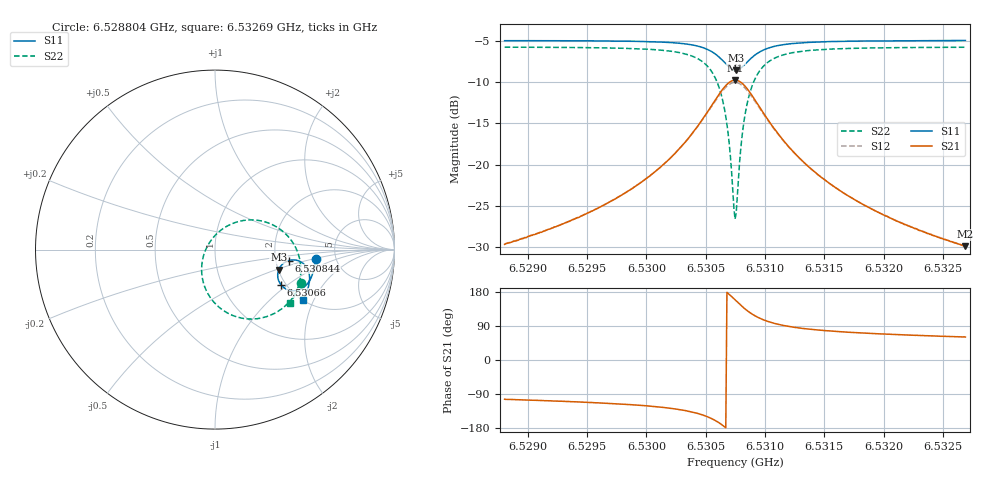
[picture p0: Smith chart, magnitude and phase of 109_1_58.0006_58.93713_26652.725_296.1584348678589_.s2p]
#  HZ  S  RI  R  50.00
! Rohde & Schwarz Vector Network Analyzer
! Rohde-Schwarz,ZNB20-2Port,1311601062101988,3.16
! Created: UTC 3/21/2024, 12:55:07 AM
! freq[Hz]  re:S11  im:S11  re:S21  im:S21  re:S12  im:S12  re:S22  im:S22
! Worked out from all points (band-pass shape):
!   401 points, 6.528804 GHz to 6.53269 GHz, reference 50 ohm
!   highest |S21| = -9.77 dB at 6.530747 GHz (marker M1); lowest = -29.9 dB at 6.53269 GHz (marker M2)
!   |S21| within 3 dB of the highest: 6.530554 GHz to 6.530943 GHz (388.8 kHz wide, 0.00595 % of centre)
!   lowest |S11| = -8.6 dB at 6.530757 GHz (marker M3), VSWR 2.19, Z = 101 - j26.1 ohm
!   |S11| at or under -10 dB: nowhere
!   |S22| runs from -26.6 to -5.8 dB; largest |S21 - S12| = 0.013
!   S11 on the Smith chart (normalised r, x): 6.528804 GHz: 3.48, -0.56; 6.53066 GHz: 1.88, -0.89; 6.530844 GHz: 2.35, -0.35; 6.53269 GHz: 2.00, -1.66
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6.528804e9  0.5607 -0.0547  -0.00767 -0.032  -0.00867 -0.0319  0.4805 -0.1841
6.529455e9  0.5512 -0.1102  -0.0177 -0.0456  -0.0187 -0.0454  0.4482 -0.2463
6.5298047e9  0.5409 -0.1438  -0.0298 -0.0592  -0.0313 -0.0585  0.4161 -0.289
6.5301059e9  0.5239 -0.1779  -0.053 -0.0785  -0.0553 -0.077  0.3631 -0.336
6.5303293e9  0.4966 -0.2085  -0.0946 -0.0996  -0.0978 -0.0962  0.2783 -0.3762
6.5304945e9  0.4511 -0.2286  -0.1668 -0.107  -0.1694 -0.0998  0.1454 -0.381
6.5305916e9  0.4038 -0.2232  -0.2406 -0.0797  -0.2396 -0.0691  0.0222 -0.3208
6.5306596e9  0.3665 -0.1946  -0.2951 -0.0182  -0.2888 -0.00724  -0.0575 -0.2066
6.5306888e9  0.3548 -0.1732  -0.3099 0.0225  -0.3008 0.032  -0.0736 -0.1364
6.5307276e9  0.3495 -0.1384  -0.3114 0.0853  -0.2997 0.0915  -0.0636 -0.0327
6.5307471e9  0.3524 -0.1205  -0.3028 0.1172  -0.2907 0.1211  -0.0433 0.0176
6.5307568e9  0.3551 -0.1117  -0.2964 0.1324  -0.284 0.1351  -0.0295 0.041
6.5307665e9  0.3591 -0.1035  -0.2882 0.1467  -0.2761 0.1484  -0.0135 0.0629
6.5308054e9  0.3812 -0.0762  -0.2448 0.193  -0.2345 0.1911  0.066 0.1301
6.5308442e9  0.4096 -0.0612  -0.1934 0.2178  -0.1859 0.2143  0.1553 0.1618
6.5309122e9  0.4552 -0.0595  -0.1138 0.2209  -0.1099 0.2173  0.289 0.1512
6.5310094e9  0.4957 -0.0813  -0.0449 0.1888  -0.043 0.1868  0.4004 0.0808
6.5311551e9  0.5198 -0.1178  -0.00298 0.1401  -0.00167 0.1392  0.4621 -0.0186
6.531398e9  0.5271 -0.1618  0.0151 0.0918  0.0162 0.0913  0.4783 -0.1201
6.53167e9  0.523 -0.1961  0.0186 0.0641  0.0193 0.0639  0.4699 -0.1837
6.5320489e9  0.5119 -0.2327  0.0178 0.0442  0.0188 0.0439  0.4511 -0.2389
6.5326901e9  0.4891 -0.2829  0.0157 0.0279  0.0162 0.0276  0.418 -0.299
